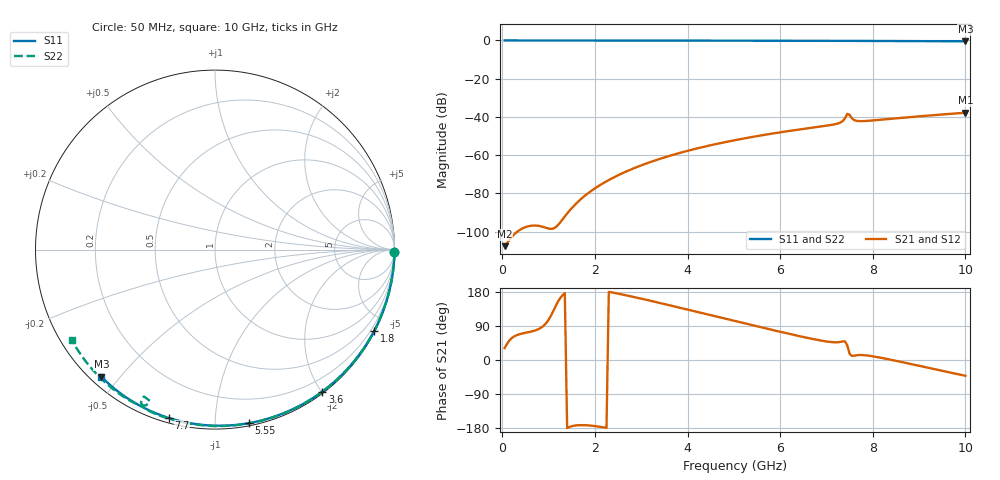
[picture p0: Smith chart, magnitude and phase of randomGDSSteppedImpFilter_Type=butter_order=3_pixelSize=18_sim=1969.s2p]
! freq	dB(S11)	phase(S11)	dB(S12)	phase(S12)
!  dB(S21)	phase(S21)	dB(S22)	phase(S22)
!S-par simulation data
#  GHz  S  DB  R 50
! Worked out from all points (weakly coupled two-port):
!   200 points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, 50 MHz to 10 GHz, reference 50 ohm
!   highest |S21| = -37.78 dB at 10 GHz (marker M1); lowest = -107.5 dB at 50 MHz (marker M2)
!   lowest |S11| = -0.4 dB at 10 GHz (marker M3), VSWR 38.92, Z = 1.54 - j22.4 ohm
!   |S11| at or under -10 dB: nowhere
!   |S22| runs from -0.8 to 0.0 dB; largest |S21 - S12| = 0
!   S11 on the Smith chart (normalised r, x): 50 MHz: open; 1.8 GHz: 0.04, -4.16; 3.6 GHz: 0.02, -2.01; 5.55 GHz: 0.02, -1.21; 7.7 GHz: 0.02, -0.76; 10 GHz: 0.03, -0.45
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0.05  -0.00 -0.8  -107.54 31.4  -107.54 31.4  -0.00 -0.9
0.9  -0.02 -13.7  -97.61 91.2  -97.61 91.2  -0.02 -15.4
1.75  -0.03 -26.3  -81.84 -171.9  -81.84 -171.9  -0.04 -29.6
1.8  -0.03 -27.1  -80.85 -172.1  -80.85 -172.1  -0.04 -30.5
1.85  -0.04 -27.8  -79.91 -172.5  -79.91 -172.5  -0.04 -31.3
2.15  -0.04 -32.2  -75.03 -177.0  -75.03 -177.0  -0.05 -36.2
2.55  -0.05 -38.0  -69.90 173.9  -69.90 173.9  -0.05 -42.7
3.4  -0.07 -50.1  -61.91 150.5  -61.91 150.5  -0.07 -56.3
3.6  -0.07 -52.9  -60.41 144.7  -60.41 144.7  -0.08 -59.4
4.3  -0.09 -62.5  -55.89 124.1  -55.89 124.1  -0.10 -70.1
5.05  -0.11 -72.5  -52.00 102.0  -52.00 102.0  -0.12 -81.2
5.55  -0.13 -79.0  -49.80 87.4  -49.80 87.4  -0.14 -88.4
6.7  -0.18 -93.4  -45.56 55.6  -45.56 55.6  -0.20 -104.5
7.3  -0.22 -100.6  -42.92 47.7  -42.92 47.7  -0.29 -113.6
7.4  -0.22 -101.8  -40.64 49.1  -40.64 49.1  -0.48 -115.9
7.45  -0.23 -102.4  -38.38 38.3  -38.38 38.3  -0.83 -115.8
7.5  -0.23 -103.0  -38.85 16.3  -38.85 16.3  -0.74 -113.3
7.55  -0.23 -103.6  -40.73 10.7  -40.73 10.7  -0.47 -113.8
7.6  -0.23 -104.2  -41.66 11.5  -41.66 11.5  -0.37 -114.9
7.7  -0.24 -105.4  -42.17 13.1  -42.17 13.1  -0.31 -116.7
8.35  -0.29 -113.0  -41.05 1.7  -41.05 1.7  -0.33 -125.9
10  -0.45 -131.8  -37.78 -41.7  -37.78 -41.7  -0.51 -147.8
